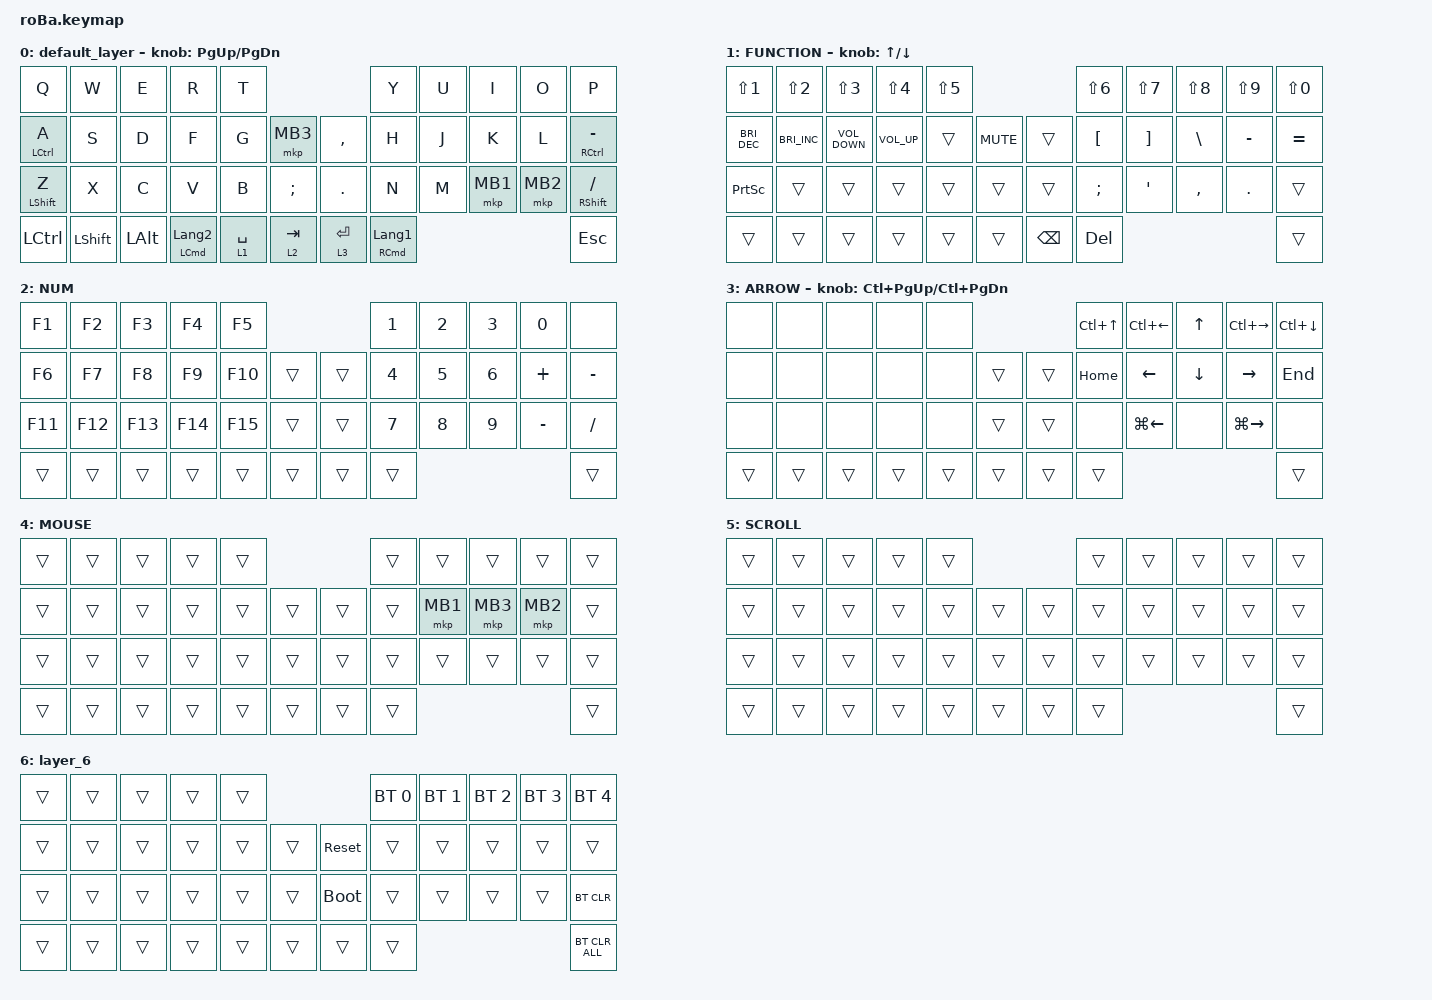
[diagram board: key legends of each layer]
#include <behaviors.dtsi>
#include <dt-bindings/zmk/bt.h>
#include <dt-bindings/zmk/keys.h>
#include <dt-bindings/zmk/pointing.h>

&mt {
    flavor = "balanced";
    quick-tap-ms = <0>;
};

/ {
    combos {
        compatible = "zmk,combos";

        tab {
            bindings = <&kp TAB>;
            key-positions = <11 12>;
        };

        shift_tab {
            bindings = <&kp LS(TAB)>;
            key-positions = <12 13>;
        };

        muhennkann {
            bindings = <&to_layer_0 INT_MUHENKAN>;
            key-positions = <11 10>;
        };

        double_quotation {
            bindings = <&kp DOUBLE_QUOTES>;
            key-positions = <20 21>;
        };

        eq {
            bindings = <&kp EQUAL>;
            key-positions = <24 25>;
        };

        scroll {
            bindings = <&mo 5>;
            key-positions = <31 32>;
        };
    };

    macros {
        to_layer_0: to_layer_0 {
            compatible = "zmk,behavior-macro-one-param";
            #binding-cells = <1>;
            bindings = <&to 0 &macro_param_1to1 &kp MACRO_PLACEHOLDER>;
            label = "TO_LAYER_0";
        };
    };

    behaviors {
        lt_to_layer_0: lt_to_layer_0 {
            compatible = "zmk,behavior-hold-tap";
            label = "LAYER_TAP_TO_0";
            bindings = <&mo>, <&to_layer_0>;

            #binding-cells = <2>;
            tapping-term-ms = <200>;
        };
    };

    keymap {
        compatible = "zmk,keymap";

        default_layer {
            bindings = <
&kp Q               &kp W           &kp E         &kp R                        &kp T                                        &kp Y                         &kp U  &kp I     &kp O     &kp P
&mt LEFT_CONTROL A  &kp S           &kp D         &kp F                        &kp G        &mkp MB3           &kp COMMA    &kp H                         &kp J  &kp K     &kp L     &mt RIGHT_CONTROL MINUS
&mt LEFT_SHIFT Z    &kp X           &kp C         &kp V                        &kp B        &kp SEMICOLON      &kp PERIOD   &kp N                         &kp M  &mkp MB1  &mkp MB2  &mt RIGHT_SHIFT SLASH
&kp LCTRL           &kp LEFT_SHIFT  &kp LEFT_ALT  &mt LEFT_COMMAND LANGUAGE_2  &lt 1 SPACE  &lt 2 TAB          &lt 3 ENTER  &mt RIGHT_COMMAND LANGUAGE_1                             &kp ESC
            >;

            sensor-bindings = <&inc_dec_kp PG_UP PAGE_DOWN>;
        };

        FUNCTION {
            bindings = <
&kp LS(NUMBER_1)      &kp LS(NUMBER_2)      &kp LS(NUMBER_3)   &kp LS(NUMBER_4)  &kp LS(NUMBER_5)                                 &kp LS(NUMBER_6)  &kp LS(NUMBER_7)   &kp LS(NUMBER_8)  &kp LS(N9)  &kp LS(N0)
&kp C_BRIGHTNESS_DEC  &kp C_BRIGHTNESS_INC  &kp C_VOLUME_DOWN  &kp C_VOLUME_UP   &trans            &kp C_MUTE      &trans         &kp LEFT_BRACKET  &kp RIGHT_BRACKET  &kp BACKSLASH     &kp MINUS   &kp EQUAL
&kp PRINTSCREEN       &trans                &trans             &trans            &trans            &trans          &trans         &kp SEMICOLON     &kp APOSTROPHE     &kp COMMA         &kp PERIOD  &trans
&trans                &trans                &trans             &trans            &trans            &trans          &kp BACKSPACE  &kp DELETE                                                         &trans
            >;

            sensor-bindings = <&inc_dec_kp UP_ARROW DOWN_ARROW>;
        };

        NUM {
            bindings = <
&kp F1   &kp F2   &kp F3   &kp F4   &kp F5                       &kp NUMBER_1  &kp NUMBER_2  &kp NUMBER_3  &kp NUMBER_0  &none
&kp F6   &kp F7   &kp F8   &kp F9   &kp F10  &trans      &trans  &kp NUMBER_4  &kp NUMBER_5  &kp NUMBER_6  &kp PLUS      &kp MINUS
&kp F11  &kp F12  &kp F13  &kp F14  &kp F15  &trans      &trans  &kp NUMBER_7  &kp NUMBER_8  &kp NUMBER_9  &kp MINUS     &kp SLASH
&trans   &trans   &trans   &trans   &trans   &trans      &trans  &trans                                                  &trans
            >;
        };

        ARROW {
            bindings = <
&none   &none   &none   &none   &none                       &kp LC(UP_ARROW)  &kp LC(LEFT_ARROW)  &kp UP_ARROW    &kp LC(RIGHT_ARROW)  &kp LC(DOWN_ARROW)
&none   &none   &none   &none   &none   &trans      &trans  &kp HOME          &kp LEFT_ARROW      &kp DOWN_ARROW  &kp RIGHT_ARROW      &kp END
&none   &none   &none   &none   &none   &trans      &trans  &none             &kp LG(LEFT_ARROW)  &none           &kp LG(RIGHT_ARROW)  &none
&trans  &trans  &trans  &trans  &trans  &trans      &trans  &trans                                                                     &trans
            >;

            sensor-bindings = <&inc_dec_kp LC(PAGE_UP) LC(PAGE_DOWN)>;
        };

        MOUSE {
            bindings = <
&trans  &trans  &trans  &trans  &trans                      &trans  &trans    &trans    &trans    &trans
&trans  &trans  &trans  &trans  &trans  &trans      &trans  &trans  &mkp MB1  &mkp MB3  &mkp MB2  &trans
&trans  &trans  &trans  &trans  &trans  &trans      &trans  &trans  &trans    &trans    &trans    &trans
&trans  &trans  &trans  &trans  &trans  &trans      &trans  &trans                                &trans
            >;
        };

        SCROLL {
            bindings = <
&trans  &trans  &trans  &trans  &trans                      &trans  &trans  &trans  &trans  &trans
&trans  &trans  &trans  &trans  &trans  &trans      &trans  &trans  &trans  &trans  &trans  &trans
&trans  &trans  &trans  &trans  &trans  &trans      &trans  &trans  &trans  &trans  &trans  &trans
&trans  &trans  &trans  &trans  &trans  &trans      &trans  &trans                          &trans
            >;
        };

        layer_6 {
            bindings = <
&trans  &trans  &trans  &trans  &trans                           &bt BT_SEL 0  &bt BT_SEL 1  &bt BT_SEL 2  &bt BT_SEL 3  &bt BT_SEL 4
&trans  &trans  &trans  &trans  &trans  &trans      &sys_reset   &trans        &trans        &trans        &trans        &trans
&trans  &trans  &trans  &trans  &trans  &trans      &bootloader  &trans        &trans        &trans        &trans        &bt BT_CLR
&trans  &trans  &trans  &trans  &trans  &trans      &trans       &trans                                                  &bt BT_CLR_ALL
            >;
        };
    };

    conditional_layers {
        compatible = "zmk,conditional-layers";

        condition {
            if-layers = <1 2>;
            then-layer = <6>;
        };
    };
};
